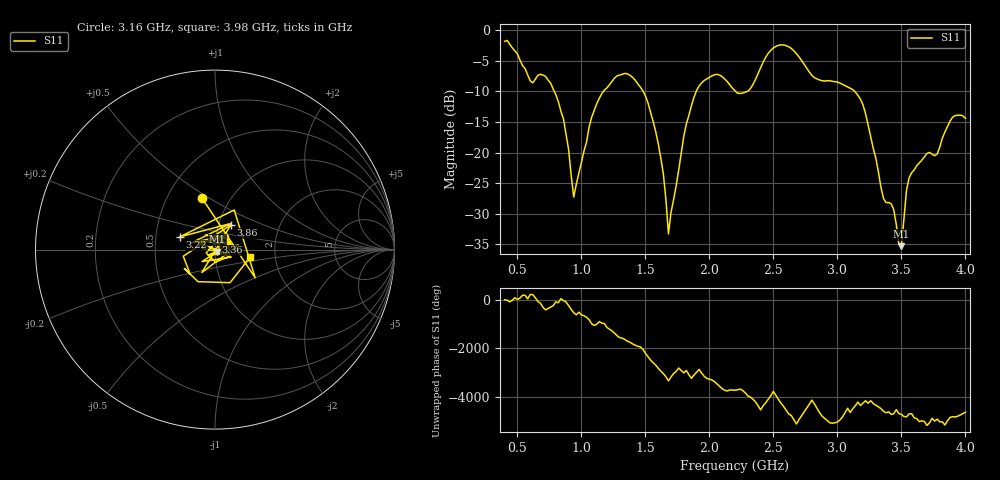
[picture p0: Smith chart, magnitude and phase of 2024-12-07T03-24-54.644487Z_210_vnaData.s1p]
!Created with skrf (http://scikit-rf.org).
# Hz S RI R 50.0
!freq ReS11 ImS11
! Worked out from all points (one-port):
!   181 points, 400 MHz to 4 GHz, reference 50 ohm
!   lowest |S11| = -35.3 dB at 3.5 GHz (marker M1), VSWR 1.03, Z = 51.3 - j1.11 ohm
!   |S11| at or under -10 dB: 788.3 MHz to 1.172 GHz (383.3 MHz wide, 39.1 % of centre); 1.483 GHz to 1.897 GHz (413.9 MHz wide, 24.5 % of centre); 3.135 GHz to end of sweep (the widest 3 of 4)
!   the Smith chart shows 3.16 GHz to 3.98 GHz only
!   S11 on the Smith chart (normalised r, x): 3.16 GHz: 0.74, +0.46; 3.22 GHz: 0.67, +0.10; 3.36 GHz: 1.00, +0.08; 3.86 GHz: 1.14, +0.32; 3.98 GHz: 1.48, -0.13
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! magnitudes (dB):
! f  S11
! 400 MHz  -1.8
! 600 MHz  -8.3
! 720 MHz  -7.5
! 860 MHz  -14.5
! 940 MHz  -27.3
! 1.12 GHz  -12.0
! 1.3 GHz  -7.3
! 1.52 GHz  -11.9
! 1.64 GHz  -23.4
! 1.68 GHz  -33.3
! 1.76 GHz  -22.9
! 1.82 GHz  -15.3
! 1.92 GHz  -9.1
! 2.06 GHz  -7.2
! 2.2 GHz  -9.9
! 2.32 GHz  -9.5
! 2.5 GHz  -2.9
! 2.66 GHz  -3.4
! 3.1 GHz  -9.5
! 3.16 GHz  -10.6
! 3.22 GHz  -13.6
! 3.36 GHz  -27.5
! 3.44 GHz  -29.3
! 3.5 GHz  -35.3
! 3.56 GHz  -24.2
! 3.86 GHz  -15.8
! 3.98 GHz  -14.0
! 4 GHz  -14.4
